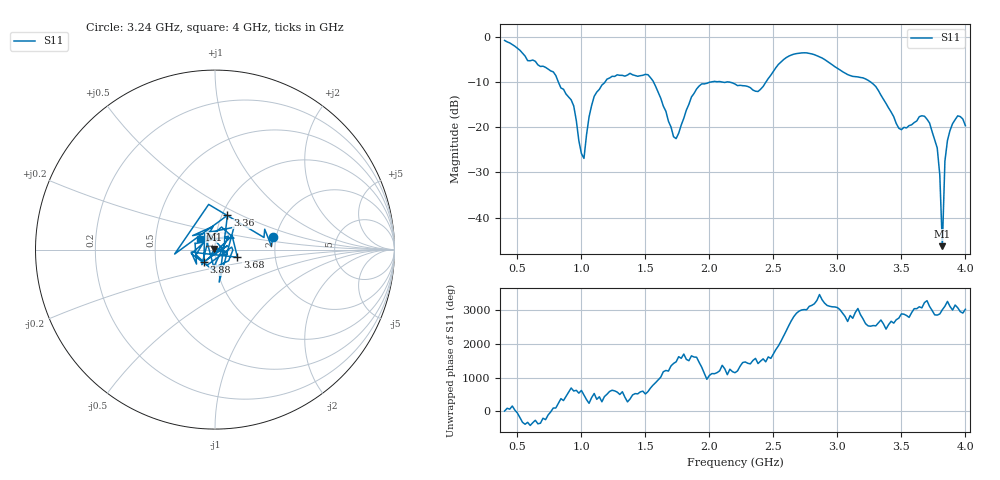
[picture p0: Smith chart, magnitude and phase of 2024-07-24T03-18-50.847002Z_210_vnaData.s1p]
!Created with skrf (http://scikit-rf.org).
# Hz S RI R 50.0
!freq ReS11 ImS11
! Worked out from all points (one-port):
!   181 points, 400 MHz to 4 GHz, reference 50 ohm
!   lowest |S11| = -46.3 dB at 3.82 GHz (marker M1), VSWR 1.01, Z = 49.7 + j0.362 ohm
!   |S11| at or under -10 dB: 819.4 MHz to 1.185 GHz (365.7 MHz wide, 36.5 % of centre); 1.563 GHz to 2.016 GHz (452.9 MHz wide, 25.3 % of centre); 3.259 GHz to end of sweep (the widest 3 of 5)
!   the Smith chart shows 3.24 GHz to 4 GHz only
!   S11 on the Smith chart (normalised r, x): 3.24 GHz: 1.92, +0.30; 3.36 GHz: 1.06, +0.42; 3.68 GHz: 1.28, -0.11; 3.88 GHz: 0.87, -0.12; 4 GHz: 0.84, +0.10
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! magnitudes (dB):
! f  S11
! 400 MHz  -0.8
! 780 MHz  -7.8
! 860 MHz  -11.6
! 940 MHz  -15.3
! 1.02 GHz  -26.9
! 1.06 GHz  -17.7
! 1.1 GHz  -13.2
! 1.3 GHz  -8.5
! 1.52 GHz  -8.4
! 1.72 GHz  -22.1
! 1.76 GHz  -21.3
! 1.92 GHz  -10.9
! 2.2 GHz  -10.5
! 2.38 GHz  -12.1
! 2.66 GHz  -3.9
! 3.1 GHz  -8.6
! 3.24 GHz  -9.6
! 3.36 GHz  -13.8
! 3.48 GHz  -20.2
! 3.56 GHz  -19.6
! 3.68 GHz  -17.6
! 3.78 GHz  -24.6
! 3.8 GHz  -30.5
! 3.82 GHz  -46.3
! 3.84 GHz  -27.5
! 3.88 GHz  -20.7
! 3.94 GHz  -17.5
! 4 GHz  -19.7
